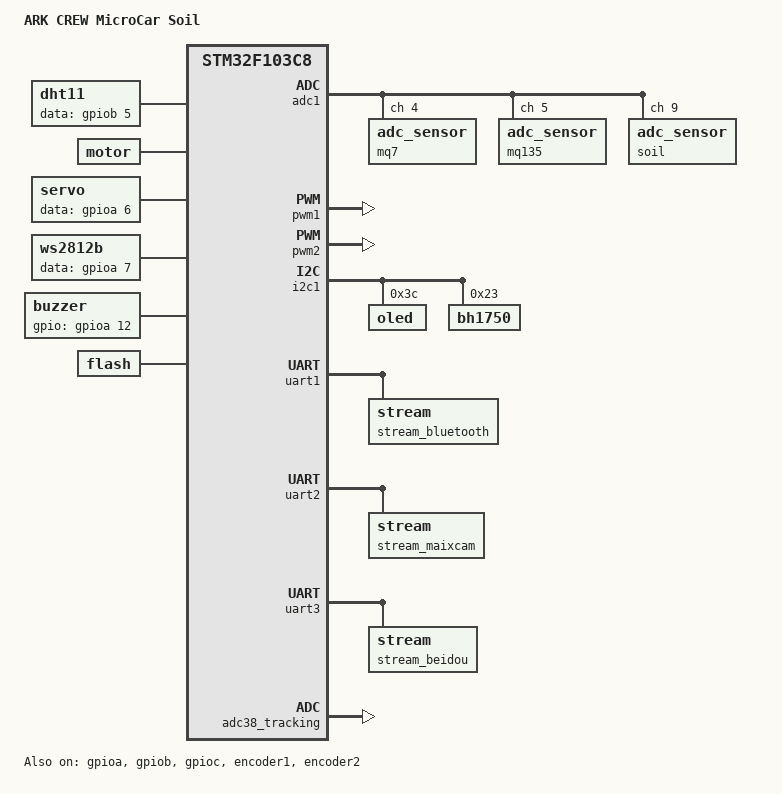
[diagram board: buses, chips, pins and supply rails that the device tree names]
/dts-v1/;

/ {
    model = "ARK CREW MicroCar Soil";
    compatible = "c8t6_microcar_soil", "stm32f103c8";

    sys {
        compatible = "simple-bus";
        #address-cells = <1>;
        #size-cells = <1>;
        ranges;

        gpioa: gpioa {
            compatible = "ark_hal_gpio";
            reg = <0x40010800 0x400>;
            gpio-controller;
            #gpio-cells = <2>;
            ark,logical-id = "gpioa";
            status = "okay";
        };

        gpiob: gpiob {
            compatible = "ark_hal_gpio";
            reg = <0x40010c00 0x400>;
            gpio-controller;
            #gpio-cells = <2>;
            ark,logical-id = "gpiob";
            status = "okay";
        };

        gpioc: gpioc {
            compatible = "ark_hal_gpio";
            reg = <0x40011000 0x400>;
            gpio-controller;
            #gpio-cells = <2>;
            ark,logical-id = "gpioc";
            status = "okay";
        };

        timebase {
            compatible = "ark_hal_time";
            status = "okay";
        };

        adc1: adc1 {
            compatible = "ark_hal_adc";
            reg = <0x40012400 0x400>;
            #io-channel-cells = <1>;
            ark,logical-id = "adc1";
            ark,cubemx-handle = "hadc1";
            ark,cubemx-header = "adc.h";
            status = "okay";

            adc_sensor@4 {
                compatible = "adc_sensor";
                reg = <4>;
                label = "mq7";
                status = "okay";
            };

            adc_sensor@5 {
                compatible = "adc_sensor";
                reg = <5>;
                label = "mq135";
                status = "okay";
            };

            adc_sensor@9 {
                compatible = "adc_sensor";
                reg = <9>;
                label = "soil";
                status = "okay";
            };
        };

        encoder1: encoder1 {
            compatible = "ark_hal_encoder";
            reg = <0x40000000 0x400>;
            #ark,hal-cells = <0>;
            ark,logical-id = "encoder1";
            ark,cubemx-handle = "htim2";
            ark,cubemx-header = "tim.h";
            status = "okay";
        };

        encoder2: encoder2 {
            compatible = "ark_hal_encoder";
            reg = <0x40000800 0x400>;
            #ark,hal-cells = <0>;
            ark,logical-id = "encoder2";
            ark,cubemx-handle = "htim4";
            ark,cubemx-header = "tim.h";
            status = "okay";
        };

        pwm1: pwm1 {
            compatible = "ark_hal_pwm";
            #pwm-cells = <0>;
            ark,logical-id = "pwm1";
            ark,cubemx-handle = "htim1";
            ark,cubemx-header = "tim.h";
            ark,channel = <1>;
            status = "okay";
        };

        pwm2: pwm2 {
            compatible = "ark_hal_pwm";
            #pwm-cells = <0>;
            ark,logical-id = "pwm2";
            ark,cubemx-handle = "htim1";
            ark,cubemx-header = "tim.h";
            ark,channel = <4>;
            status = "okay";
        };

        i2c1: i2c1 {
            compatible = "ark_hal_i2c";
            reg = <0x40005400 0x400>;
            #address-cells = <1>;
            #size-cells = <0>;
            ark,logical-id = "i2c1";
            ark,cubemx-handle = "hi2c1";
            ark,cubemx-header = "i2c.h";
            status = "okay";

            oled@3c {
                compatible = "oled";
                reg = <0x3c>;
                status = "okay";
            };

            bh1750@23 {
                compatible = "bh1750";
                reg = <0x23>;
                status = "okay";
            };
        };

        uart1: uart1 {
            compatible = "ark_hal_uart";
            reg = <0x40013800 0x400>;
            ark,logical-id = "uart1";
            ark,cubemx-handle = "huart1";
            ark,cubemx-header = "usart.h";
            status = "okay";

            stream_bluetooth: stream {
                compatible = "stream";
                ark,stream-name = "bluetooth";
                current-speed = <9600>;
                status = "okay";

                bluetooth {
                    compatible = "bluetooth";
                    status = "okay";
                };
            };
        };

        uart2: uart2 {
            compatible = "ark_hal_uart";
            reg = <0x40004400 0x400>;
            ark,logical-id = "uart2";
            ark,cubemx-handle = "huart2";
            ark,cubemx-header = "usart.h";
            status = "okay";

            stream_maixcam: stream {
                compatible = "stream";
                ark,stream-name = "maixcam";
                current-speed = <115200>;
                status = "okay";

                maixcam {
                    compatible = "maixcam";
                    status = "okay";
                };
            };
        };

        uart3: uart3 {
            compatible = "ark_hal_uart";
            reg = <0x40004800 0x400>;
            ark,logical-id = "uart3";
            ark,cubemx-handle = "huart3";
            ark,cubemx-header = "usart.h";
            status = "okay";

            stream_beidou: stream {
                compatible = "stream";
                ark,stream-name = "beidou";
                current-speed = <9600>;
                status = "okay";

                beidou {
                    compatible = "beidou";
                    status = "okay";
                };
            };
        };

        dht11 {
            compatible = "dht11";
            data-gpios = <&gpiob 5 0>;
            status = "okay";
        };

        adc38_tracking {
            compatible = "adc38_tracking";
            io-channels = <&adc1 8>;
            select-gpios = <&gpioc 13 0>, <&gpiob 3 0>, <&gpiob 4 0>;
            status = "okay";
        };

        motor {
            compatible = "motor";
            status = "okay";

            motor_tb6612 {
                compatible = "motor_tb6612";
                pwms = <&pwm1>, <&pwm2>;
                left-in1-gpios = <&gpiob 13 0>;
                left-in2-gpios = <&gpiob 12 0>;
                right-in1-gpios = <&gpiob 14 0>;
                right-in2-gpios = <&gpiob 15 0>;
                ark,left-polarity = <1>;
                ark,right-polarity = <1>;
                status = "okay";
            };
        };

        encoder {
            compatible = "encoder";
            encoders = <&encoder1>, <&encoder2>;
            ark,left-polarity = <0xffffffff>;
            ark,right-polarity = <1>;
            ark,counts-per-revolution = <1500>;
            status = "okay";
        };

        servo {
            compatible = "servo";
            ark,software-pwm;
            data-gpios = <&gpioa 6 0>;
            status = "okay";
        };

        ws2812b {
            compatible = "ws2812b";
            data-gpios = <&gpioa 7 0>;
            ark,transport = "software";
            chain-length = <8>;
            status = "okay";
        };

        buzzer {
            compatible = "buzzer";
            gpios = <&gpioa 12 0>;
            status = "okay";
        };

        flash {
            compatible = "flash";
            status = "okay";

            internal_flash {
                compatible = "flash_stm32f103";
                ark,reserve-bytes = <1024>;
                status = "okay";
            };
        };
    };

    software {
        tasks {
            ark,control-stack-words = <128>;
            ark,sensor-stack-words = <160>;
            ark,oled-stack-words = <160>;
            ark,business-stack-words = <256>;
            ark,control-priority = <2>;
            ark,sensor-priority = <1>;
            ark,oled-priority = <1>;
            ark,business-priority = <2>;
            ark,control-period-ms = <20>;
            ark,sensor-period-ms = <200>;
            ark,oled-period-ms = <100>;
            ark,business-period-ms = <20>;
            ark,oled-page-period-ms = <2000>;
            ark,bluetooth-period-ms = <1000>;
            status = "okay";
        };

        control {
            compatible = "control";
            ark,period-ms = <20>;
            ark,left-pid = <0 350 60 0 0xfffffc18 1000 0xfffcf2c0 200000>;
            ark,right-pid = <0 350 60 0 0xfffffc18 1000 0xfffcf2c0 200000>;
            ark,smoothing-enabled;
            ark,rise-step-rpm10 = <180>;
            ark,fall-step-rpm10 = <300>;
            ark,minimum-step-rpm10 = <10>;
            status = "okay";
        };

        display {
            ark,dirty-refresh = <0>;
            status = "okay";
        };

        lighting {
            ark,max-lux = <1500>;
            ark,max-level = <7>;
            ark,max-white = <88>;
            status = "okay";
        };

        calibration {
            ark,white = <2624 2172 3104 2016 1000 2043 1606 1476>;
            ark,black = <89 84 87 92 101 85 93 89>;
            ark,samples-per-channel = <2>;
            ark,settle-us = <10>;
            status = "okay";
        };

        line_follow {
            ark,period-ms = <20>;
            ark,base-speed-rpm10 = <1200>;
            ark,turn-speed-rpm10 = <800>;
            ark,flower-timeout-ms = <8000>;
            ark,flower-max-attempts = <3>;
            ark,flower-done-ms = <1000>;
            ark,flower-blink-half-ms = <167>;
            ark,return-timeout-ms = <8000>;
            ark,target-corner-count = <4>;
            ark,pre-turn-pause-ms = <300>;
            ark,start-delay-ms = <1000>;
            ark,ready-retry-ms = <1000>;
            ark,strong-min = <1400>;
            ark,corner-confirm-ticks = <3>;
            ark,corner-release-ticks = <5>;
            ark,corner-approach-distance = <1700>;
            ark,lost-limit-ticks = <25>;
            ark,turn-min-counts = <250>;
            ark,turn-max-counts = <2500>;
            ark,turn-center-limit = <350>;
            ark,turn-reacquire-ticks = <3>;
            ark,steering-pid = <0 100 0 0 0xfffffed4 300 0xfffcf2c0 200000>;
            ark,middle-weights = <0xfffffc00 0xfffffd9a 0xffffff33 205 614 1024>;
            status = "okay";
        };

        flower_tracking {
            ark,target-x = <215>;
            ark,target-y = <100>;
            ark,x-deadband = <3>;
            ark,y-deadband = <3>;
            ark,x-hold-deadband = <3>;
            ark,y-hold-deadband = <3>;
            ark,x-gain-rpm10 = <4>;
            ark,y-gain-rpm10 = <5>;
            ark,linear-polarity = <1>;
            ark,steer-polarity = <0xffffffff>;
            ark,min-speed-rpm10 = <180>;
            ark,max-linear-rpm10 = <500>;
            ark,max-steer-rpm10 = <450>;
            ark,max-wheel-rpm10 = <700>;
            ark,search-speed-rpm10 = <220>;
            ark,search-polarity = <1>;
            ark,search-delay-ms = <300>;
            ark,frame-stale-ms = <250>;
            ark,detect-confirm-frames = <3>;
            ark,missed-frame-tolerance = <3>;
            ark,stable-frames = <5>;
            status = "okay";
        };

        soil_probe {
            ark,insert-delta-deg = <65>;
            ark,direction = <1>;
            ark,move-settle-ms = <300>;
            ark,hold-ms = <2000>;
            ark,sample-timeout-ms = <300>;
            ark,alarm-ms = <3000>;
            ark,baseline-sample-count = <8>;
            ark,insert-drop-raw = <200>;
            ark,baseline-filter-shift = <3>;
            status = "okay";
        };
    };
};
